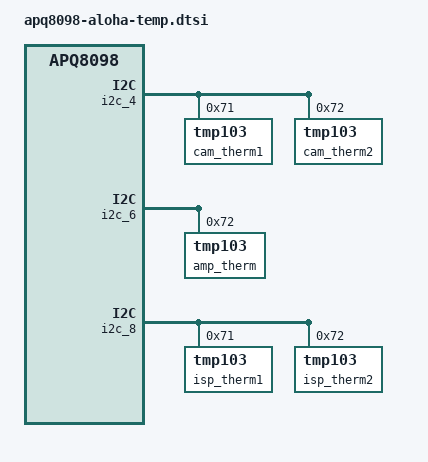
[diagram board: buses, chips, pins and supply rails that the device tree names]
/* Copyright (c) 2017, Facebook Inc. All rights reserved.
 *
 * This program is free software; you can redistribute it and/or modify
 * it under the terms of the GNU General Public License version 2 and
 * only version 2 as published by the Free Software Foundation.
 *
 * This program is distributed in the hope that it will be useful,
 * but WITHOUT ANY WARRANTY; without even the implied warranty of
 * MERCHANTABILITY or FITNESS FOR A PARTICULAR PURPOSE.  See the
 * GNU General Public License for more details.
 */

/*
 * TEMP sensor
 */
&i2c_4 {
	/* Upper Board Sensor 1 */
	tmp103b@0x71 {
		compatible = "tmp103";
		reg = <0x71>;
		label = "cam_therm1";
	};

	/* Upper Board Sensor 2 */
	tmp103c@0x72 {
		compatible = "tmp103";
		reg = <0x72>;
		label = "cam_therm2";
	};
};

/*
 * TEMP sensor
 */
&i2c_6 {
	/* AMP Sensor */
	tmp103c@0x72 {
		compatible = "tmp103";
		reg = <0x72>;
		label = "amp_therm";
	};
};

/*
 * TEMP sensor
 */
&i2c_8 {
	/* ISP Sensor 1 */
	tmp103c@0x71 {
		compatible = "tmp103";
		reg = <0x71>;
		label = "isp_therm1";
	};

	/* ISP Sensor 2 */
	tmp103c@0x72 {
		compatible = "tmp103";
		reg = <0x72>;
		label = "isp_therm2";
	};
};

